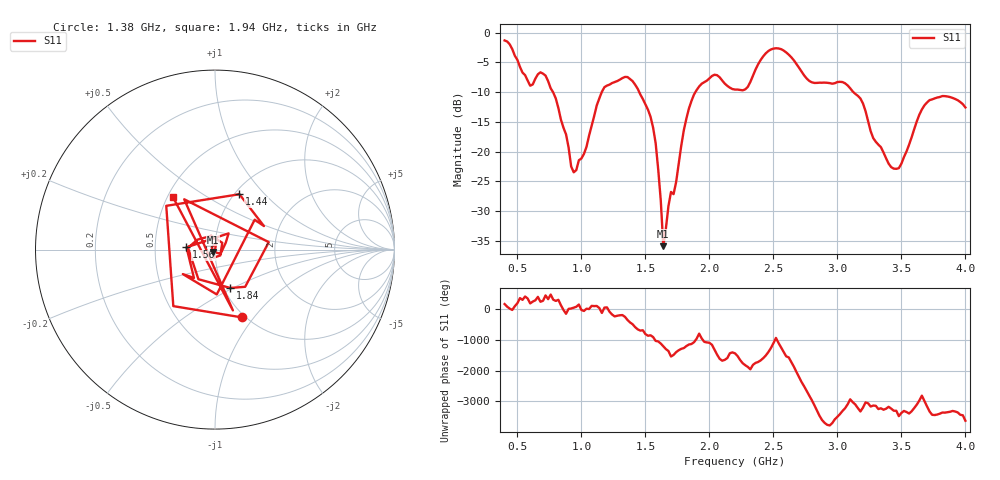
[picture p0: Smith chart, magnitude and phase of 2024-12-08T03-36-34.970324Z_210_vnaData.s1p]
!Created with skrf (http://scikit-rf.org).
# Hz S RI R 50.0
!freq ReS11 ImS11
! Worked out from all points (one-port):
!   181 points, 400 MHz to 4 GHz, reference 50 ohm
!   lowest |S11| = -35.9 dB at 1.64 GHz (marker M1), VSWR 1.03, Z = 49.1 - j1.28 ohm
!   |S11| at or under -10 dB: 778.3 MHz to 1.159 GHz (380.6 MHz wide, 39.3 % of centre); 1.452 GHz to 1.891 GHz (438.8 MHz wide, 26.3 % of centre); 3.125 GHz to end of sweep
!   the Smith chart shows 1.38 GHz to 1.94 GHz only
!   S11 on the Smith chart (normalised r, x): 1.38 GHz: 0.97, -0.88; 1.44 GHz: 1.05, +0.73; 1.56 GHz: 0.73, +0.02; 1.84 GHz: 1.07, -0.48; 1.94 GHz: 0.54, +0.36
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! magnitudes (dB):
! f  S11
! 400 MHz  -1.3
! 600 MHz  -8.9
! 720 MHz  -7.2
! 860 MHz  -16.0
! 920 MHz  -22.5
! 960 MHz  -23.1
! 1.16 GHz  -9.9
! 1.3 GHz  -7.9
! 1.38 GHz  -7.8
! 1.44 GHz  -9.4
! 1.56 GHz  -15.9
! 1.6 GHz  -23.0
! 1.64 GHz  -35.9
! 1.7 GHz  -26.8
! 1.72 GHz  -27.1
! 1.76 GHz  -22.0
! 1.84 GHz  -12.8
! 1.94 GHz  -8.6
! 2.2 GHz  -9.6
! 2.3 GHz  -9.1
! 2.48 GHz  -2.8
! 2.66 GHz  -4.7
! 2.8 GHz  -8.3
! 3.1 GHz  -9.3
! 3.42 GHz  -22.6
! 3.56 GHz  -18.8
! 3.72 GHz  -11.3
! 4 GHz  -12.6
